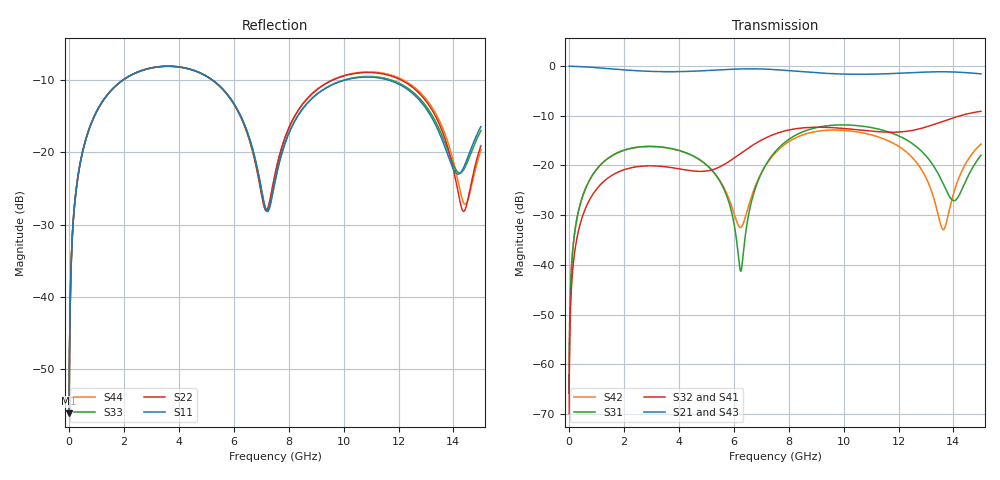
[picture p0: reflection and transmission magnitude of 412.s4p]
! Created with skrf 1.8.0 (http://scikit-rf.org).
# GHz S RI R 50.0
!freq ReS11 ImS11 ReS12 ImS12 ReS13 ImS13
! ReS14 ImS14
! ReS21 ImS21 ReS22 ImS22 ReS23 ImS23
! ReS24 ImS24
! ReS31 ImS31 ReS32 ImS32 ReS33 ImS33
! ReS34 ImS34
! ReS41 ImS41 ReS42 ImS42 ReS43 ImS43
! ReS44 ImS44
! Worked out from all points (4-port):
!   2499 points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, 5 MHz to 15 GHz, reference 50 ohm
!   strongest paths, dB at 5 MHz, 3.476 GHz, 7.19 GHz, 11.1 GHz, 15 GHz:
!     S21: 0.0, -1.1, -0.6, -1.6, -1.6
!     S43: 0.0, -1.1, -0.6, -1.6, -1.5
!     S32: -69.9, -20.2, -14.4, -13.1, -9.1
!     S41: -69.9, -20.2, -14.4, -13.1, -9.1
!     S31: -65.9, -16.4, -19.7, -12.5, -18.0
!     S42: -65.9, -16.4, -19.7, -14.0, -15.7
!   lowest |S11| = -56.1 dB at 5 MHz (marker M1), VSWR 1.00, Z = 50.1 + j0.0951 ohm
!   |S11| at or under -10 dB: start of sweep to 1.965 GHz; 5.221 GHz to 10.05 GHz (4.832 GHz wide, 63.3 % of centre); 11.63 GHz to end of sweep
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0.005  0.00125 0.000948  0.9987 -0.00244  6.2e-05 0.000506  -6.02e-05 -0.000315
       0.9987 -0.00244  0.00125 0.000948  -6.02e-05 -0.000315  6.2e-05 0.000506
       6.2e-05 0.000506  -6.02e-05 -0.000315  0.00125 0.000948  0.9987 -0.00244
       -6.02e-05 -0.000315  6.2e-05 0.000506  0.9987 -0.00244  0.00125 0.000948
0.3626511  0.019 0.0728  0.974 -0.1761  0.0089 0.0352  -0.00734 -0.0218
           0.974 -0.1761  0.019 0.0728  -0.00734 -0.0218  0.0088 0.0353
           0.0089 0.0352  -0.00734 -0.0218  0.019 0.0728  0.974 -0.1761
           -0.00734 -0.0218  0.0088 0.0353  0.974 -0.1761  0.019 0.0728
1.825761  0.2357 0.1889  0.6191 -0.6865  0.1171 0.0702  -0.085 -0.0175
          0.6191 -0.6865  0.2361 0.1886  -0.085 -0.0175  0.1158 0.0717
          0.1171 0.0702  -0.085 -0.0175  0.2357 0.1889  0.619 -0.6865
          -0.085 -0.0175  0.1158 0.0717  0.619 -0.6865  0.2362 0.1887
6.252605  0.0987 -0.148  -0.8223 -0.4479  -0.00818 -0.00271  -0.0599 0.118
          -0.8223 -0.4479  0.0971 -0.1466  -0.0599 0.118  -0.022 -0.00898
          -0.00818 -0.00271  -0.0599 0.118  0.0991 -0.1494  -0.8221 -0.4478
          -0.0599 0.118  -0.022 -0.00898  -0.8221 -0.4478  0.0981 -0.1476
7.146728  0.0383 -0.0159  -0.9299 -0.0749  0.0128 0.0984  -0.0116 0.188
          -0.9299 -0.0749  0.0387 -0.0101  -0.0117 0.188  -0.0164 0.0973
          0.0128 0.0984  -0.0117 0.188  0.0379 -0.0172  -0.9298 -0.0748
          -0.0116 0.188  -0.0164 0.0973  -0.9298 -0.0748  0.0395 -0.0114
11.30471  0.3233 -0.048  0.0403 0.8319  0.1876 -0.135  0.1986 -0.0901
          0.0403 0.8319  0.3434 -0.0788  0.1989 -0.0901  0.1875 -0.0415
          0.1876 -0.135  0.1989 -0.0901  0.3272 -0.0489  0.0416 0.8303
          0.1986 -0.0901  0.1875 -0.0415  0.0416 0.8303  0.3473 -0.0801
15  0.1169 0.0953  0.8307 -0.0919  0.0495 0.1163  -0.0662 -0.3439
    0.8307 -0.0919  0.0757 0.0814  -0.0666 -0.3445  0.0955 0.1334
    0.0495 0.1163  -0.0666 -0.3445  0.1138 0.0844  0.8317 -0.0926
    -0.0662 -0.3439  0.0955 0.1334  0.8317 -0.0926  0.0764 0.0702
